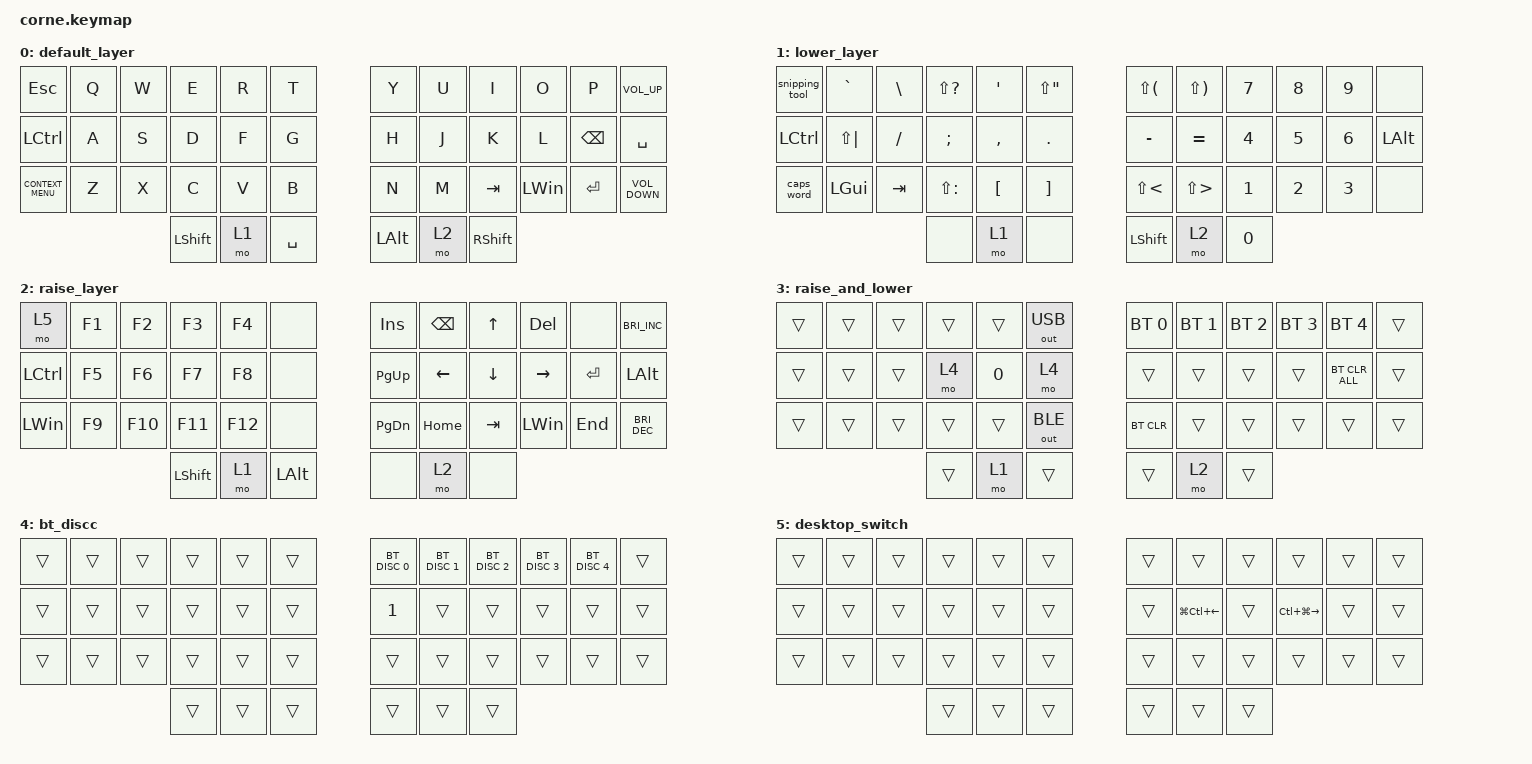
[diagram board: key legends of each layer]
/*
 * Copyright (c) 2020 The ZMK Contributors
 *
 * SPDX-License-Identifier: MIT
 */

#include <behaviors.dtsi>
#include <dt-bindings/zmk/bt.h>
#include <dt-bindings/zmk/keys.h>
#include <dt-bindings/zmk/outputs.h>

/ {
    combos {
        compatible = "zmk,combos";

        default-enter {
            bindings = <&kp ENTER>;
            key-positions = <38 39>;
        };
    };

    macros {
        snipping_tool: mac_snip {
            compatible = "zmk,behavior-macro";
            #binding-cells = <0>;
            bindings = <&kp LS(LG(S))>;
            label = "MAC_SNIP";
        };

        mac_terminal: mac_terminal {
            compatible = "zmk,behavior-macro";
            #binding-cells = <0>;
            bindings = <&kp LGUI &kp T &kp E &kp R &kp M &kp I &kp N &kp A &kp L &kp ENTER>;
            label = "MAC_TERMINAL";
        };
    };

    keymap {
        compatible = "zmk,keymap";

        default_layer {
            // -----------------------------------------------------------------------------------------
            // |  TAB |  Q  |  W  |  E  |  R  |  T  |   |  Y  |  U   |  I  |  O  |  P  | BKSP |
            // | CTRL |  A  |  S  |  D  |  F  |  G  |   |  H  |  J   |  K  |  L  |  ;  |  '   |
            // | SHFT |  Z  |  X  |  C  |  V  |  B  |   |  N  |  M   |  ,  |  .  |  /  | ESC  |
            //                    | GUI | LWR | SPC |   | ENT | RSE  | ALT |

            bindings = <
&kp ESCAPE          &kp Q  &kp W  &kp E      &kp R  &kp T        &kp Y         &kp U  &kp I      &kp O         &kp P          &kp C_VOLUME_UP
&kp LEFT_CONTROL    &kp A  &kp S  &kp D      &kp F  &kp G        &kp H         &kp J  &kp K      &kp L         &kp BACKSPACE  &kp SPACE
&kp K_CONTEXT_MENU  &kp Z  &kp X  &kp C      &kp V  &kp B        &kp N         &kp M  &kp TAB    &kp LEFT_WIN  &kp ENTER      &kp C_VOLUME_DOWN
                                  &kp LSHFT  &mo 1  &kp SPACE    &kp LEFT_ALT  &mo 2  &kp RSHFT
            >;
        };

        lower_layer {
            // -----------------------------------------------------------------------------------------
            // |  TAB |  1  |  2  |  3  |  4  |  5  |   |  6  |  7  |  8  |  9  |  0  | BKSP |
            // | BTCLR| BT1 | BT2 | BT3 | BT4 | BT5 |   | LFT | DWN |  UP | RGT |     |      |
            // | SHFT |     |     |     |     |     |   |     |     |     |     |     |      |
            //                    | GUI |     | SPC |   | ENT |     | ALT |

            bindings = <
&snipping_tool  &kp GRAVE     &kp BSLH  &kp LS(QMARK)  &kp SQT    &kp LS(DQT)    &kp LS(LPAR)    &kp LS(RPAR)  &kp N7  &kp N8  &kp N9  &none
&kp LCTRL       &kp LS(PIPE)  &kp FSLH  &kp SEMI       &kp COMMA  &kp DOT        &kp MINUS       &kp EQUAL     &kp N4  &kp N5  &kp N6  &kp LEFT_ALT
&caps_word      &kp LGUI      &kp TAB   &kp LS(COLON)  &kp LBKT   &kp RBKT       &kp LS(LT)      &kp LS(GT)    &kp N1  &kp N2  &kp N3  &none
                                        &none          &mo 1      &none          &kp LEFT_SHIFT  &mo 2         &kp N0
            >;
        };

        raise_layer {
            // -----------------------------------------------------------------------------------------
            // |  TAB |  !  |  @  |  #  |  $  |  %  |   |  ^  |  &  |  *  |  (  |  )  | BKSP |
            // | CTRL |     |     |     |     |     |   |  -  |  =  |  [  |  ]  |  \  |  `   |
            // | SHFT |     |     |     |     |     |   |  _  |  +  |  {  |  }  | "|" |  ~   |
            //                    | GUI |     | SPC |   | ENT |     | ALT |

            bindings = <
&mo 5         &kp F1  &kp F2   &kp F3          &kp F4   &none           &kp INSERT  &kp BACKSPACE  &kp UP    &kp DELETE    &none    &kp C_BRIGHTNESS_INC
&kp LCTRL     &kp F5  &kp F6   &kp F7          &kp F8   &none           &kp PG_UP   &kp LEFT       &kp DOWN  &kp RIGHT     &kp RET  &kp LEFT_ALT
&kp LEFT_WIN  &kp F9  &kp F10  &kp F11         &kp F12  &none           &kp PG_DN   &kp HOME       &kp TAB   &kp LEFT_WIN  &kp END  &kp C_BRIGHTNESS_DEC
                               &kp LEFT_SHIFT  &mo 1    &kp LEFT_ALT    &none       &mo 2          &none
            >;
        };

        raise_and_lower {
            bindings = <
&trans  &trans  &trans  &trans  &trans  &out OUT_USB    &bt BT_SEL 0  &bt BT_SEL 1  &bt BT_SEL 2  &bt BT_SEL 3  &bt BT_SEL 4    &trans
&trans  &trans  &trans  &mo 4   &kp N0  &mo 4           &trans        &trans        &trans        &trans        &bt BT_CLR_ALL  &trans
&trans  &trans  &trans  &trans  &trans  &out OUT_BLE    &bt BT_CLR    &trans        &trans        &trans        &trans          &trans
                        &trans  &mo 1   &trans          &trans        &mo 2         &trans
            >;
        };

        bt_discc {
            bindings = <
&trans  &trans  &trans  &trans  &trans  &trans    &bt BT_DISC 0  &bt BT_DISC 1  &bt BT_DISC 2  &bt BT_DISC 3  &bt BT_DISC 4  &trans
&trans  &trans  &trans  &trans  &trans  &trans    &kp NUMBER_1   &trans         &trans         &trans         &trans         &trans
&trans  &trans  &trans  &trans  &trans  &trans    &trans         &trans         &trans         &trans         &trans         &trans
                        &trans  &trans  &trans    &trans         &trans         &trans
            >;
        };

        desktop_switch {
            bindings = <
&trans  &trans  &trans  &trans  &trans  &trans    &trans  &trans                  &trans  &trans                   &trans  &trans
&trans  &trans  &trans  &trans  &trans  &trans    &trans  &kp LG(LC(LEFT_ARROW))  &trans  &kp LC(LG(RIGHT_ARROW))  &trans  &trans
&trans  &trans  &trans  &trans  &trans  &trans    &trans  &trans                  &trans  &trans                   &trans  &trans
                        &trans  &trans  &trans    &trans  &trans                  &trans
            >;
        };
    };

    conditional_layers {
        compatible = "zmk,conditional-layers";

        raise_and_lower {
            if-layers = <1 2>;
            then-layer = <3>;
        };
    };
};
